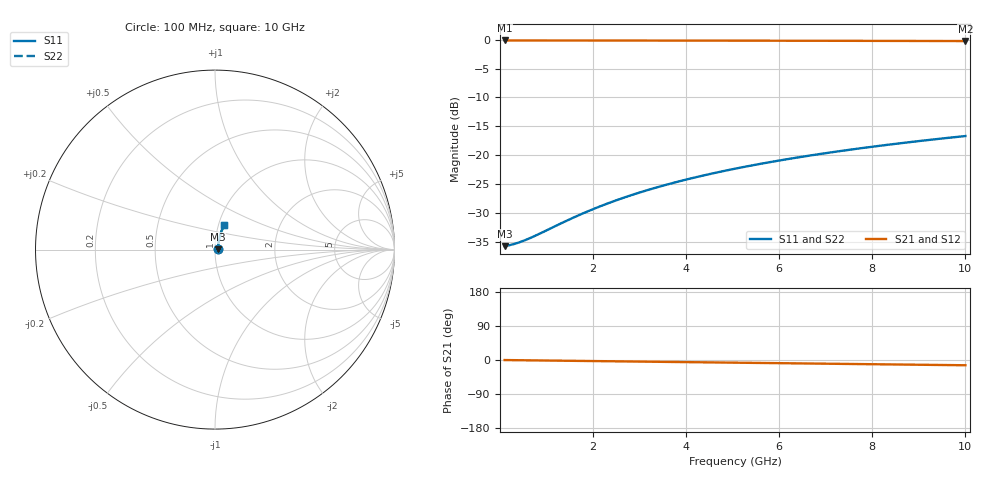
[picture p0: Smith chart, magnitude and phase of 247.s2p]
# Hz S RI R 50.00
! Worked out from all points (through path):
!   100 points, 100 MHz to 10 GHz, reference 50 ohm
!   highest |S21| = -0.14 dB at 100 MHz (marker M1); lowest = -0.2 dB at 10 GHz (marker M2)
!   group delay of S21, straight-line fit = 3.86 ps
!   lowest |S11| = -35.8 dB at 100 MHz (marker M3), VSWR 1.03, Z = 51.7 + j0.149 ohm
!   |S11| at or under -10 dB: start of sweep to end of sweep
!   |S22| runs from -35.8 to -16.7 dB; largest |S21 - S12| = 0
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1e8  0.0162 0.00144  0.9838 -0.0024  0.9838 -0.0024  0.0162 0.00144
2e8  0.0164 0.00288  0.9836 -0.0048  0.9836 -0.0048  0.0164 0.00288
3e8  0.0164 0.00432  0.9835 -0.0072  0.9835 -0.0072  0.0164 0.00432
4e8  0.0165 0.00576  0.9835 -0.0096  0.9835 -0.0096  0.0165 0.00576
6e8  0.0167 0.00863  0.9833 -0.0144  0.9833 -0.0144  0.0167 0.00863
8e8  0.0169 0.0115  0.9831 -0.0192  0.9831 -0.0192  0.0169 0.0115
1.5e9  0.0177 0.0215  0.9822 -0.036  0.9822 -0.036  0.0177 0.0215
1.8e9  0.0181 0.0258  0.9818 -0.0431  0.9818 -0.0431  0.0181 0.0258
2.2e9  0.0187 0.0316  0.981 -0.0527  0.981 -0.0527  0.0187 0.0316
2.6e9  0.0195 0.0372  0.9802 -0.0622  0.9802 -0.0622  0.0195 0.0372
3e9  0.0203 0.0429  0.9793 -0.0718  0.9793 -0.0718  0.0203 0.0429
3.4e9  0.0213 0.0486  0.9782 -0.0813  0.9782 -0.0813  0.0213 0.0486
3.8e9  0.0223 0.0542  0.977 -0.0908  0.977 -0.0908  0.0223 0.0542
4.2e9  0.0235 0.0598  0.9757 -0.1002  0.9757 -0.1002  0.0235 0.0598
4.6e9  0.0248 0.0654  0.9742 -0.1096  0.9742 -0.1096  0.0248 0.0654
5.1e9  0.0265 0.0723  0.9723 -0.1214  0.9723 -0.1214  0.0265 0.0723
5.9e9  0.0296 0.0833  0.9687 -0.1401  0.9687 -0.1401  0.0296 0.0833
6.7e9  0.0331 0.0942  0.9647 -0.1586  0.9647 -0.1586  0.0331 0.0942
7.5e9  0.0371 0.1048  0.9602 -0.177  0.9602 -0.177  0.0371 0.1048
8.4e9  0.042 0.1166  0.9546 -0.1974  0.9546 -0.1974  0.042 0.1166
9.2e9  0.0468 0.1268  0.9492 -0.2154  0.9492 -0.2154  0.0468 0.1268
1e10  0.0519 0.1368  0.9433 -0.2331  0.9433 -0.2331  0.0519 0.1368
